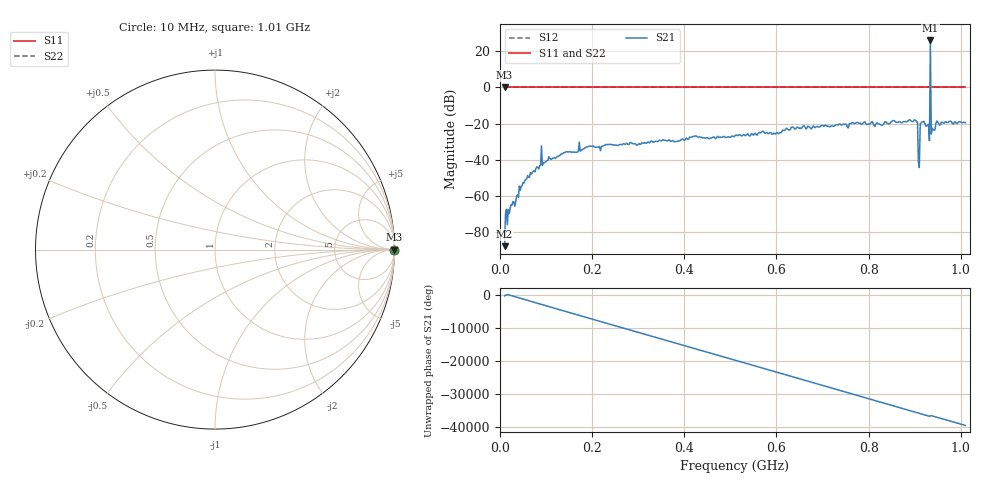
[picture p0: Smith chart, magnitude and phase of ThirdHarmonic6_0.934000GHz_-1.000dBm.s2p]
! 8/16/2025 6:26:08 AM
! C:\ANRITSUVNA\TEMP\TEMP.S2P
! CHANNEL.1
! TR.MEASUREMENT
! RAW.DATA
! RF.CORRECTION.OFF
! AVERAGING.OFF
! IF.BANDWIDTH: 5KHZ
! SWEEPTYPE:  FREQ.SWEEP(Linear)
! Reference Plane Port Info
! PORT:  PORT1  PORT2
! DISTANCE:  0  m  0  m
! TIME:  0  s  0  s
! PHASE.OFFSET:  0  deg.  0  deg.
! LOSS:  0  dB  0  dB
! REF.LOSS:  0  dB  0  dB
! REF.FREQ:  0  Hz  0  Hz
! Power Info
! POWER:  -20  dBm  -20  dBm
! EFF.POWER:  -20  dBm  -20  dBm
! SOURCE.ATTEN:  0  dB  0  dB
! TEST.ATTEN:  0  dB  0  dB
# GHZ S RI R 50.0
! FREQ.GHZ  S11RE  S11IM  S21RE  S21IM  S12RE  S12IM  S22RE  S22IM
!; PortSelection: Port_12
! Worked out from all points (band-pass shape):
!   501 points, 10 MHz to 1.01 GHz, reference 50 ohm
!   highest |S21| = 25.84 dB at 934 MHz (marker M1); lowest = -87.6 dB at 10 MHz (marker M2)
!   |S21| within 3 dB of the highest: 933.8914 MHz to 934.1162 MHz (224.8 kHz wide, 0.0241 % of centre)
!   lowest |S11| = 0.0 dB at 10 MHz (marker M3)
!   |S11| at or under -10 dB: nowhere
!   |S22| runs from 0.0 to 0.0 dB; largest |S21 - S12| = 20
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0.01  1 0  -2.9e-05 -2.97e-05  1 0  1 0
0.016  1 0  -7.5e-06 -0.000162  1 0  1 0
0.036  1 0  -0.000984 -0.000174  1 0  1 0
0.046  1 0  -0.00156 0.00105  1 0  1 0
0.086  1 0  0.00487 -0.0049  1 0  1 0
0.178  1 0  -0.0185 -0.00258  1 0  1 0
0.344  1 0  0.0315 -0.0105  1 0  1 0
0.51  1 0  -0.0399 0.0224  1 0  1 0
0.678  1 0  -0.0526 -0.0615  1 0  1 0
0.844  1 0  0.0975 0.00235  1 0  1 0
0.902  1 0  -0.1185 0.0316  1 0  1 0
0.906  1 0  0.1109 0.0129  1 0  1 0
0.91  1 0  -0.00503 -0.00351  1 0  1 0
0.912  1 0  -0.051 0.086  1 0  1 0
0.916  1 0  0.0894 -0.0647  1 0  1 0
0.928  1 0  -0.0815 -0.0332  1 0  1 0
0.93  1 0  -0.0556 0.078  1 0  1 0
0.934  1 0  -9.455 17.15  1 0  1 0
0.938  1 0  -0.0596 0.046  1 0  1 0
0.94  1 0  0.021 0.0648  1 0  1 0
0.95  1 0  0.0884 0.0676  1 0  1 0
1.01  1 0  -0.0753 0.0752  1 0  1 0
